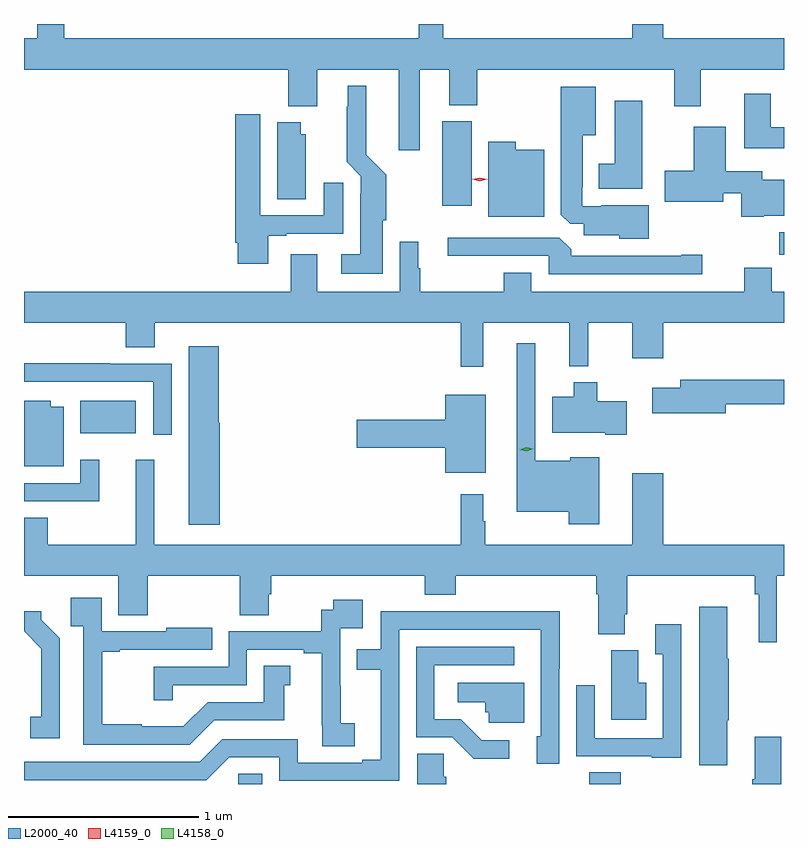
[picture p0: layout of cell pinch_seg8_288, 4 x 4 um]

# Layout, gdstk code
import gdstk
lib = gdstk.Library(unit=1e-6, precision=1e-09)
def R(c, l, rs):  # rectangles x0, y0, x1, y1
    for r in rs: c.add(gdstk.rectangle(r[:2], r[2:], *l))
def P(c, l, *ps):  # polygons
    for p in ps: c.add(gdstk.Polygon(p, *l))
L2000_40 = (2000, 40)
L4158_0 = (4158, 0)
L4159_0 = (4159, 0)

pinch_seg8_288 = lib.new_cell('pinch_seg8_288')
R(pinch_seg8_288, L2000_40, [(522.576,1142.044,522.703,1142.099), (524.423,1142.044,524.588,1142.105), (521.744,1143.89,522.037,1144.06), (525.424,1144.83,525.448,1144.948), (523.649,1145.088,523.804,1145.532)])
P(pinch_seg8_288, L2000_40, [(523.531,1145.804),(523.685,1145.804),(523.685,1145.617),(523.833,1145.617),(523.833,1145.804),(524.87,1145.804),(524.87,1145.61),(525.01,1145.61),(525.01,1145.804),(525.448,1145.804),(525.448,1145.968),(524.812,1145.968),(524.812,1146.044),(524.648,1146.044),(524.648,1145.968),(523.654,1145.968),(523.654,1146.044),(523.525,1146.044),(523.525,1145.968),(521.659,1145.968),(521.659,1146.044),(521.519,1146.044),(521.519,1145.968),(521.448,1145.968),(521.448,1145.804),(522.839,1145.804),(522.839,1145.612),(522.991,1145.612),(522.991,1145.804),(523.421,1145.804),(523.421,1145.379),(523.531,1145.379)],
  [(523.336,1145.01),(523.354,1145.01),(523.354,1145.25),(523.249,1145.356),(523.249,1145.719),(523.151,1145.719),(523.151,1145.609),(523.147,1145.609),(523.147,1145.318),(523.221,1145.244),(523.221,1145.15),(523.217,1145.15),(523.217,1144.831),(523.119,1144.831),(523.119,1144.73),(523.336,1144.73)],
  [(524.737,1145.089),(524.485,1145.089),(524.485,1145.085),(524.385,1145.085),(524.385,1145.185),(524.389,1145.185),(524.389,1145.459),(524.458,1145.459),(524.458,1145.713),(524.273,1145.713),(524.273,1145.041),(524.322,1144.992),(524.393,1144.992),(524.393,1144.931),(524.58,1144.931),(524.58,1144.913),(524.737,1144.913)],
  [(525.448,1145.5),(525.379,1145.5),(525.379,1145.677),(525.239,1145.677),(525.239,1145.39),(525.448,1145.39)],
  [(524.701,1145.641),(524.558,1145.641),(524.558,1145.308),(524.474,1145.308),(524.474,1145.177),(524.701,1145.177)],
  [(522.733,1144.929),(522.829,1144.929),(522.829,1144.941),(523.129,1144.941),(523.129,1145.209),(523.025,1145.209),(523.025,1145.037),(522.691,1145.037),(522.691,1145.569),(522.56,1145.569),(522.56,1144.894),(522.572,1144.894),(522.572,1144.782),(522.733,1144.782)],
  [(522.931,1145.463),(522.904,1145.463),(522.904,1145.527),(522.782,1145.527),(522.782,1145.122),(522.931,1145.122)],
  [(525.342,1145.036),(525.448,1145.036),(525.448,1145.224),(525.334,1145.224),(525.334,1145.269),(525.142,1145.269),(525.142,1145.503),(524.972,1145.503),(524.972,1145.271),(524.82,1145.271),(524.82,1145.108),(525.127,1145.108),(525.127,1145.152),(525.224,1145.152),(525.224,1145.03),(525.342,1145.03)],
  [(524.185,1145.383),(524.035,1145.383),(524.035,1145.425),(523.892,1145.425),(523.892,1145.03),(524.185,1145.03)],
  [(525.019,1144.829),(524.906,1144.829),(524.906,1144.824),(524.327,1144.824),(524.327,1144.858),(524.265,1144.92),(523.677,1144.92),(523.677,1144.824),(524.211,1144.824),(524.211,1144.728),(525.019,1144.728)],
  [(523.865,1144.472),(524.318,1144.472),(524.318,1144.244),(524.418,1144.244),(524.418,1144.472),(524.648,1144.472),(524.648,1144.284),(524.812,1144.284),(524.812,1144.472),(525.448,1144.472),(525.448,1144.636),(525.383,1144.636),(525.383,1144.76),(525.239,1144.76),(525.239,1144.636),(524.119,1144.636),(524.119,1144.735),(523.972,1144.735),(523.972,1144.636),(523.534,1144.636),(523.534,1144.758),(523.522,1144.758),(523.522,1144.897),(523.425,1144.897),(523.425,1144.636),(522.991,1144.636),(522.991,1144.831),(522.851,1144.831),(522.851,1144.636),(521.448,1144.636),(521.448,1144.472),(521.984,1144.472),(521.984,1144.342),(522.136,1144.342),(522.136,1144.472),(523.747,1144.472),(523.747,1144.239),(523.865,1144.239)],
  [(524.476,1143.763),(524.322,1143.763),(524.322,1143.745),(524.139,1143.745),(524.139,1144.363),(524.042,1144.363),(524.042,1143.476),(524.315,1143.476),(524.315,1143.411),(524.476,1143.411)],
  [(522.478,1143.945),(522.473,1143.945),(522.473,1144.348),(522.314,1144.348),(522.314,1143.408),(522.478,1143.408)],
  [(522.225,1144.257),(521.9,1144.257),(521.9,1144.259),(521.448,1144.259),(521.448,1144.161),(522.129,1144.161),(522.129,1143.882),(522.225,1143.882)],
  [(525.142,1144.042),(525.448,1144.042),(525.448,1144.171),(524.903,1144.171),(524.903,1144.129),(524.754,1144.129),(524.754,1143.995),(525.142,1143.995)],
  [(524.62,1144.059),(524.464,1144.059),(524.464,1144.159),(524.342,1144.159),(524.342,1144.081),(524.228,1144.081),(524.228,1143.893),(524.507,1143.893),(524.507,1143.881),(524.62,1143.881)],
  [(523.879,1144.093),(523.664,1144.093),(523.664,1143.962),(523.2,1143.962),(523.2,1143.815),(523.664,1143.815),(523.664,1143.683),(523.879,1143.683)],
  [(521.656,1144.03),(521.59,1144.03),(521.59,1144.06),(521.448,1144.06),(521.448,1143.716),(521.656,1143.716)],
  [(525.411,1143.14),(525.448,1143.14),(525.448,1143.304),(524.812,1143.304),(524.812,1143.679),(524.648,1143.679),(524.648,1143.304),(523.876,1143.304),(523.876,1143.428),(523.864,1143.428),(523.864,1143.568),(523.747,1143.568),(523.747,1143.304),(522.134,1143.304),(522.134,1143.751),(522.035,1143.751),(522.035,1143.304),(521.574,1143.304),(521.574,1143.446),(521.448,1143.446),(521.448,1143.14),(521.945,1143.14),(521.945,1142.932),(522.098,1142.932),(522.098,1143.14),(522.584,1143.14),(522.584,1142.932),(522.736,1142.932),(522.736,1143.042),(522.749,1143.042),(522.749,1143.14),(523.556,1143.14),(523.556,1143.041),(523.721,1143.041),(523.721,1143.14),(524.459,1143.14),(524.459,1143.044),(524.471,1143.044),(524.471,1142.833),(524.611,1142.833),(524.611,1142.938),(524.624,1142.938),(524.624,1143.14),(525.295,1143.14),(525.295,1143.044),(525.314,1143.044),(525.314,1142.79),(525.411,1142.79)],
  [(521.843,1143.751),(521.745,1143.751),(521.745,1143.627),(521.448,1143.627),(521.448,1143.531),(521.843,1143.531)],
  [(522.45,1142.379),(522.817,1142.379),(522.817,1142.563),(522.85,1142.563),(522.85,1142.666),(522.71,1142.666),(522.71,1142.475),(522.414,1142.475),(522.286,1142.347),(522.068,1142.347),(522.068,1142.359),(521.861,1142.359),(521.861,1142.739),(521.953,1142.739),(521.953,1142.751),(522.44,1142.751),(522.44,1142.866),(522.197,1142.866),(522.197,1142.847),(521.856,1142.847),(521.856,1143.025),(521.695,1143.025),(521.695,1142.873),(521.76,1142.873),(521.76,1142.25),(522.321,1142.25)],
  [(523.189,1142.364),(523.115,1142.364),(523.115,1142.561),(523.113,1142.561),(523.113,1142.865),(523.231,1142.865),(523.231,1143.013),(523.075,1143.013),(523.075,1142.961),(523.012,1142.961),(523.012,1142.847),(522.525,1142.847),(522.525,1142.661),(522.13,1142.661),(522.13,1142.484),(522.231,1142.484),(522.231,1142.565),(522.621,1142.565),(522.621,1142.751),(522.92,1142.751),(522.92,1142.731),(523.016,1142.731),(523.016,1142.353),(523.018,1142.353),(523.018,1142.242),(523.189,1142.242)],
  [(525.148,1142.38),(525.156,1142.38),(525.156,1142.702),(525.148,1142.702),(525.148,1142.977),(525.002,1142.977),(525.002,1142.142),(525.148,1142.142)],
  [(523.422,1142.856),(524.169,1142.856),(524.169,1142.295),(524.147,1142.295),(524.147,1142.151),(524.265,1142.151),(524.265,1142.65),(524.267,1142.65),(524.267,1142.954),(523.804,1142.954),(523.804,1142.952),(523.326,1142.952),(523.326,1142.754),(523.198,1142.754),(523.198,1142.646),(523.325,1142.646),(523.325,1142.172),(523.229,1142.172),(523.229,1142.157),(522.888,1142.157),(522.888,1142.28),(522.492,1142.28),(522.372,1142.16),(521.448,1142.16),(521.448,1142.064),(522.408,1142.064),(522.528,1142.184),(522.792,1142.184),(522.792,1142.061),(523.422,1142.061)],
  [(521.637,1142.81),(521.538,1142.909),(521.538,1142.954),(521.448,1142.954),(521.448,1142.847),(521.54,1142.755),(521.54,1142.399),(521.482,1142.399),(521.482,1142.286),(521.637,1142.286)],
  [(524.907,1142.884),(524.771,1142.884),(524.771,1142.728),(524.811,1142.728),(524.811,1142.286),(524.451,1142.286),(524.451,1142.563),(524.355,1142.563),(524.355,1142.19),(524.751,1142.19),(524.751,1142.183),(524.907,1142.183)],
  [(524.002,1142.274),(523.857,1142.274),(523.746,1142.385),(523.608,1142.385),(523.608,1142.67),(524.029,1142.67),(524.029,1142.766),(523.512,1142.766),(523.512,1142.289),(523.701,1142.289),(523.814,1142.177),(524.002,1142.177)],
  [(524.722,1142.578),(524.68,1142.578),(524.68,1142.748),(524.54,1142.748),(524.54,1142.381),(524.722,1142.381)],
  [(524.08,1142.578),(523.731,1142.578),(523.731,1142.474),(523.875,1142.474),(523.875,1142.421),(523.893,1142.421),(523.893,1142.367),(524.08,1142.367)],
  [(525.433,1142.293),(525.293,1142.293),(525.293,1142.068),(525.281,1142.068),(525.281,1142.044),(525.433,1142.044)],
  [(523.67,1142.081),(523.656,1142.081),(523.656,1142.204),(523.517,1142.204),(523.517,1142.044),(523.67,1142.044)])
P(pinch_seg8_288, L4158_0, [(524.094,1143.796),(524.057,1143.803),(524.057,1143.803),(524.057,1143.804),(524.092,1143.816),(524.129,1143.809),(524.129,1143.808),(524.129,1143.808)])
P(pinch_seg8_288, L4159_0, [(523.846,1145.216),(523.808,1145.226),(523.808,1145.226),(523.808,1145.226),(523.846,1145.236),(523.885,1145.226),(523.885,1145.226),(523.885,1145.226)])

lib.write_gds('pinch_seg8_288.gds')
